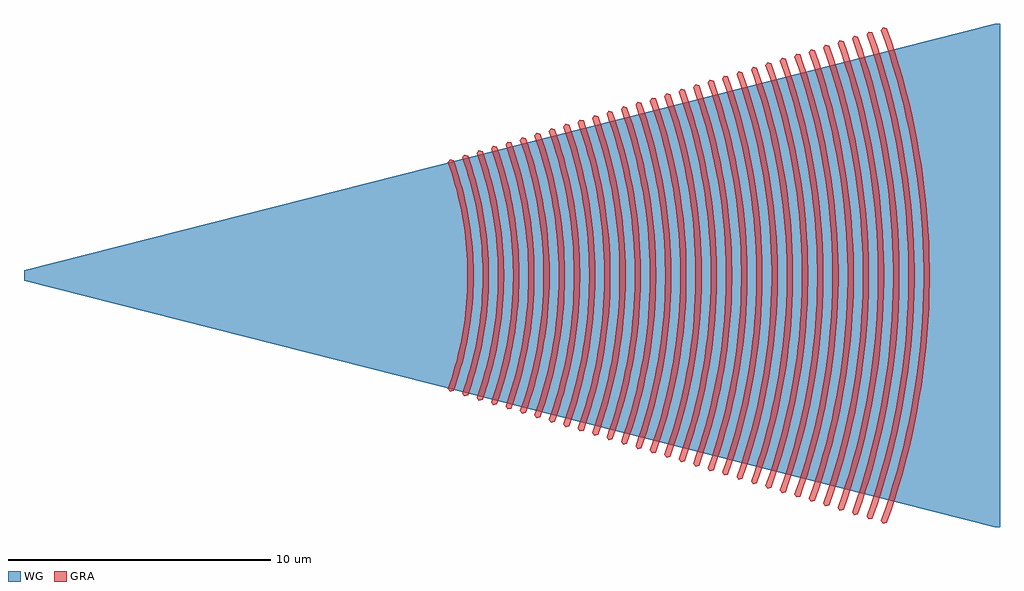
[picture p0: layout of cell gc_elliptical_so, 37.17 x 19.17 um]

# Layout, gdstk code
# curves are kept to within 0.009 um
import gdstk
lib = gdstk.Library(unit=1e-6, precision=1e-09)
def P(c, l, *ps):  # polygons
    for p in ps: c.add(gdstk.Polygon(p, *l))
WG = (3, 0)
GRA = (6, 0)

gc_elliptical_so = lib.new_cell('gc_elliptical_so')
P(gc_elliptical_so, WG, [(-1.953,-0.2),(-1.953,0.2),(35.017,9.583),(35.217,9.583),(35.217,-9.583),(35.017,-9.583)])
P(gc_elliptical_so, GRA, [(14.272,-4.431),(14.187,-4.318),(14.332,-3.889),(14.52,-3.238),(14.673,-2.578),(14.792,-1.911),(14.895,-1.015),(14.935,-0.113),(14.911,0.79),(14.876,1.24),(14.792,1.911),(14.673,2.578),(14.52,3.238),(14.332,3.889),(14.187,4.318),(14.272,4.431),(14.409,4.396),(14.689,3.52),(14.905,2.626),(15.026,1.947),(15.086,1.491),(15.147,0.804),(15.171,0.115),(15.159,-0.574),(15.11,-1.262),(15.026,-1.947),(14.905,-2.626),(14.689,-3.52),(14.409,-4.396)],
  [(14.822,-4.598),(14.737,-4.485),(14.887,-4.04),(15.083,-3.364),(15.242,-2.678),(15.366,-1.985),(15.473,-1.054),(15.514,-0.117),(15.502,0.586),(15.473,1.054),(15.366,1.985),(15.242,2.678),(15.083,3.364),(14.887,4.04),(14.737,4.485),(14.822,4.598),(14.959,4.563),(15.038,4.339),(15.249,3.654),(15.474,2.726),(15.6,2.021),(15.662,1.547),(15.725,0.834),(15.75,0.119),(15.738,-0.596),(15.687,-1.31),(15.6,-2.021),(15.474,-2.726),(15.249,-3.654),(15.038,-4.339),(14.959,-4.563)],
  [(15.372,-4.766),(15.286,-4.654),(15.443,-4.191),(15.646,-3.489),(15.811,-2.778),(15.939,-2.06),(16.004,-1.578),(16.05,-1.094),(16.093,-0.122),(16.068,0.851),(16.03,1.336),(15.939,2.06),(15.811,2.778),(15.646,3.489),(15.443,4.191),(15.286,4.654),(15.372,4.766),(15.51,4.73),(15.81,3.788),(16.043,2.826),(16.173,2.096),(16.238,1.604),(16.304,0.865),(16.329,0.124),(16.316,-0.618),(16.264,-1.358),(16.173,-2.096),(16.043,-2.826),(15.81,-3.788),(15.51,-4.73)],
  [(15.922,-4.934),(15.836,-4.822),(15.999,-4.342),(16.209,-3.615),(16.38,-2.878),(16.513,-2.134),(16.628,-1.132),(16.659,-0.63),(16.672,-0.126),(16.646,0.882),(16.606,1.383),(16.513,2.134),(16.38,2.878),(16.209,3.615),(15.999,4.342),(15.836,4.822),(15.922,4.934),(16.06,4.898),(16.143,4.657),(16.299,4.169),(16.437,3.675),(16.612,2.926),(16.747,2.17),(16.84,1.407),(16.882,0.896),(16.908,0.128),(16.904,-0.384),(16.864,-1.152),(16.782,-1.915),(16.661,-2.675),(16.5,-3.426),(16.223,-4.414),(16.06,-4.898)],
  [(16.472,-5.101),(16.387,-4.988),(16.554,-4.493),(16.772,-3.741),(16.949,-2.978),(17.086,-2.208),(17.155,-1.692),(17.205,-1.173),(17.238,-0.652),(17.251,-0.13),(17.247,0.391),(17.224,0.912),(17.183,1.432),(17.086,2.208),(16.949,2.978),(16.772,3.741),(16.554,4.493),(16.387,4.988),(16.472,5.101),(16.609,5.066),(16.696,4.817),(16.931,4.057),(17.065,3.544),(17.181,3.026),(17.32,2.244),(17.417,1.454),(17.474,0.662),(17.487,0.132),(17.474,-0.662),(17.417,-1.454),(17.32,-2.244),(17.181,-3.026),(17.065,-3.544),(16.931,-4.057),(16.696,-4.817),(16.609,-5.066)],
  [(17.021,-5.269),(16.936,-5.156),(17.189,-4.386),(17.4,-3.605),(17.57,-2.814),(17.659,-2.282),(17.731,-1.749),(17.783,-1.212),(17.816,-0.674),(17.83,-0.135),(17.826,0.404),(17.783,1.212),(17.731,1.749),(17.659,2.282),(17.57,2.814),(17.4,3.605),(17.189,4.386),(16.936,5.156),(17.021,5.269),(17.158,5.234),(17.249,4.976),(17.491,4.191),(17.63,3.661),(17.749,3.127),(17.893,2.318),(17.994,1.504),(18.038,0.957),(18.066,0.137),(18.062,-0.41),(18.019,-1.23),(17.932,-2.047),(17.802,-2.858),(17.63,-3.661),(17.491,-4.191),(17.334,-4.716),(17.158,-5.234)],
  [(17.571,-5.436),(17.486,-5.323),(17.747,-4.528),(17.965,-3.722),(18.14,-2.905),(18.233,-2.356),(18.307,-1.805),(18.36,-1.251),(18.395,-0.696),(18.409,-0.139),(18.404,0.418),(18.38,0.974),(18.307,1.805),(18.233,2.356),(18.14,2.905),(17.965,3.722),(17.747,4.528),(17.486,5.323),(17.571,5.436),(17.708,5.401),(17.802,5.135),(18.052,4.325),(18.195,3.778),(18.318,3.227),(18.467,2.392),(18.541,1.831),(18.616,0.988),(18.645,0.141),(18.631,-0.706),(18.596,-1.269),(18.506,-2.113),(18.372,-2.949),(18.195,-3.778),(18.052,-4.325),(17.889,-4.867),(17.708,-5.401)],
  [(18.121,-5.604),(18.036,-5.491),(18.221,-4.945),(18.46,-4.118),(18.595,-3.56),(18.762,-2.714),(18.847,-2.147),(18.913,-1.577),(18.973,-0.718),(18.988,-0.144),(18.983,0.431),(18.958,1.004),(18.913,1.577),(18.806,2.431),(18.655,3.279),(18.46,4.118),(18.221,4.945),(18.036,5.491),(18.121,5.604),(18.258,5.569),(18.354,5.294),(18.613,4.459),(18.76,3.895),(18.887,3.327),(19.04,2.467),(19.147,1.599),(19.194,1.018),(19.224,0.146),(19.209,-0.728),(19.173,-1.309),(19.081,-2.177),(18.943,-3.041),(18.76,-3.895),(18.613,-4.459),(18.445,-5.017),(18.258,-5.569)],
  [(18.671,-5.771),(18.586,-5.658),(18.776,-5.096),(19.023,-4.243),(19.162,-3.668),(19.334,-2.797),(19.422,-2.213),(19.49,-1.625),(19.552,-0.739),(19.567,-0.148),(19.562,0.444),(19.536,1.035),(19.49,1.625),(19.38,2.505),(19.224,3.379),(19.023,4.243),(18.776,5.096),(18.586,5.658),(18.671,5.771),(18.808,5.736),(18.907,5.454),(19.173,4.593),(19.325,4.012),(19.456,3.427),(19.614,2.541),(19.724,1.647),(19.788,0.749),(19.803,0.15),(19.788,-0.749),(19.751,-1.348),(19.656,-2.243),(19.513,-3.132),(19.325,-4.012),(19.173,-4.593),(19,-5.168),(18.808,-5.736)],
  [(19.221,-5.939),(19.136,-5.826),(19.332,-5.247),(19.586,-4.369),(19.729,-3.777),(19.906,-2.88),(19.996,-2.277),(20.066,-1.673),(20.114,-1.066),(20.146,-0.152),(20.141,0.457),(20.114,1.066),(20.034,1.976),(19.953,2.58),(19.793,3.479),(19.586,4.369),(19.332,5.247),(19.136,5.826),(19.221,5.939),(19.358,5.904),(19.46,5.613),(19.734,4.727),(19.89,4.13),(20.025,3.527),(20.187,2.614),(20.268,2.002),(20.35,1.08),(20.382,0.154),(20.377,-0.463),(20.328,-1.388),(20.23,-2.309),(20.084,-3.224),(19.89,-4.13),(19.734,-4.727),(19.556,-5.319),(19.358,-5.904)],
  [(19.771,-6.107),(19.686,-5.994),(19.887,-5.398),(20.149,-4.495),(20.362,-3.579),(20.478,-2.963),(20.571,-2.343),(20.643,-1.721),(20.709,-0.783),(20.725,-0.157),(20.72,0.47),(20.67,1.409),(20.61,2.033),(20.527,2.653),(20.362,3.579),(20.149,4.495),(19.887,5.398),(19.686,5.994),(19.771,6.107),(19.908,6.072),(20.013,5.772),(20.294,4.862),(20.455,4.247),(20.594,3.627),(20.761,2.689),(20.844,2.059),(20.928,1.11),(20.961,0.159),(20.956,-0.476),(20.906,-1.427),(20.805,-2.375),(20.654,-3.315),(20.455,-4.247),(20.294,-4.862),(20.111,-5.47),(19.908,-6.072)],
  [(20.321,-6.274),(20.236,-6.161),(20.442,-5.549),(20.711,-4.621),(20.863,-3.994),(21.05,-3.046),(21.146,-2.409),(21.22,-1.769),(21.287,-0.805),(21.304,-0.161),(21.299,0.483),(21.27,1.127),(21.22,1.769),(21.1,2.727),(20.993,3.363),(20.79,4.308),(20.537,5.241),(20.236,6.161),(20.321,6.274),(20.458,6.239),(20.566,5.932),(20.855,4.996),(21.02,4.364),(21.162,3.727),(21.334,2.763),(21.454,1.791),(21.506,1.141),(21.54,0.163),(21.535,-0.489),(21.483,-1.466),(21.38,-2.439),(21.225,-3.407),(21.02,-4.364),(20.855,-4.996),(20.668,-5.621),(20.458,-6.239)],
  [(20.871,-6.442),(20.785,-6.329),(21.096,-5.384),(21.274,-4.746),(21.43,-4.103),(21.622,-3.128),(21.761,-2.146),(21.825,-1.488),(21.866,-0.827),(21.883,-0.165),(21.866,0.827),(21.825,1.488),(21.761,2.146),(21.673,2.802),(21.563,3.454),(21.355,4.425),(21.096,5.384),(20.785,6.329),(20.871,6.442),(21.009,6.407),(21.118,6.091),(21.415,5.13),(21.585,4.481),(21.731,3.827),(21.907,2.838),(21.995,2.172),(22.084,1.172),(22.119,0.167),(22.102,-0.837),(22.061,-1.506),(21.954,-2.506),(21.795,-3.498),(21.585,-4.481),(21.415,-5.13),(21.222,-5.772),(21.009,-6.407)],
  [(21.421,-6.609),(21.336,-6.496),(21.554,-5.851),(21.837,-4.872),(21.997,-4.211),(22.194,-3.211),(22.295,-2.539),(22.373,-1.865),(22.444,-0.849),(22.462,-0.17),(22.456,0.509),(22.426,1.188),(22.373,1.865),(22.247,2.876),(22.068,3.879),(21.837,4.872),(21.554,5.851),(21.336,6.496),(21.421,6.609),(21.558,6.574),(21.671,6.25),(21.976,5.264),(22.15,4.598),(22.3,3.927),(22.481,2.912),(22.571,2.229),(22.662,1.202),(22.698,0.172),(22.68,-0.859),(22.638,-1.545),(22.529,-2.571),(22.366,-3.59),(22.15,-4.598),(21.976,-5.264),(21.778,-5.923),(21.558,-6.574)],
  [(21.971,-6.777),(21.885,-6.664),(22.212,-5.669),(22.4,-4.998),(22.564,-4.32),(22.766,-3.294),(22.87,-2.605),(22.95,-1.914),(23.023,-0.871),(23.041,-0.174),(23.035,0.523),(23.004,1.219),(22.95,1.914),(22.82,2.95),(22.637,3.979),(22.4,4.998),(22.212,5.669),(21.885,6.664),(21.971,6.777),(22.109,6.742),(22.224,6.409),(22.536,5.398),(22.715,4.716),(22.869,4.027),(23.054,2.986),(23.147,2.286),(23.24,1.233),(23.277,0.176),(23.259,-0.881),(23.184,-1.936),(23.104,-2.637),(22.936,-3.681),(22.715,-4.716),(22.536,-5.398),(22.333,-6.074),(22.109,-6.742)],
  [(22.521,-6.944),(22.436,-6.831),(22.665,-6.153),(22.963,-5.123),(23.131,-4.429),(23.338,-3.377),(23.444,-2.671),(23.526,-1.962),(23.601,-0.893),(23.62,-0.179),(23.614,0.536),(23.557,1.606),(23.488,2.317),(23.394,3.024),(23.206,4.079),(22.963,5.123),(22.665,6.153),(22.436,6.831),(22.521,6.944),(22.658,6.909),(22.889,6.225),(23.191,5.183),(23.438,4.127),(23.628,3.06),(23.722,2.343),(23.818,1.264),(23.856,0.181),(23.85,-0.542),(23.793,-1.624),(23.678,-2.701),(23.507,-3.773),(23.28,-4.833),(23.097,-5.532),(22.889,-6.225),(22.658,-6.909)],
  [(23.071,-7.112),(22.986,-6.999),(23.22,-6.304),(23.526,-5.249),(23.775,-4.179),(23.91,-3.46),(24.019,-2.736),(24.103,-2.01),(24.18,-0.915),(24.199,-0.183),(24.193,0.549),(24.16,1.28),(24.103,2.01),(23.967,3.098),(23.775,4.179),(23.526,5.249),(23.328,5.954),(22.986,6.999),(23.071,7.112),(23.208,7.077),(23.33,6.728),(23.658,5.666),(23.845,4.95),(24.007,4.227),(24.201,3.134),(24.337,2.032),(24.416,0.925),(24.435,0.185),(24.416,-0.925),(24.37,-1.663),(24.253,-2.768),(24.077,-3.864),(23.845,-4.95),(23.554,-6.022),(23.208,-7.077)],
  [(23.621,-7.28),(23.535,-7.168),(23.776,-6.455),(24.089,-5.375),(24.265,-4.646),(24.482,-3.543),(24.593,-2.802),(24.68,-2.058),(24.758,-0.937),(24.778,-0.187),(24.772,0.562),(24.712,1.685),(24.64,2.43),(24.541,3.173),(24.343,4.28),(24.089,5.375),(23.776,6.455),(23.535,7.168),(23.621,7.28),(23.759,7.244),(24,6.527),(24.317,5.435),(24.575,4.328),(24.775,3.209),(24.874,2.458),(24.974,1.325),(25.014,0.189),(25.008,-0.568),(24.948,-1.703),(24.827,-2.834),(24.648,-3.956),(24.41,-5.067),(24.112,-6.165),(23.759,-7.244)],
  [(24.17,-7.447),(24.085,-7.334),(24.332,-6.606),(24.651,-5.5),(24.832,-4.755),(25.054,-3.626),(25.168,-2.867),(25.256,-2.106),(25.337,-0.958),(25.357,-0.192),(25.337,0.958),(25.289,1.724),(25.216,2.487),(25.114,3.247),(24.986,4.003),(24.745,5.128),(24.444,6.239),(24.085,7.334),(24.17,7.447),(24.307,7.412),(24.556,6.678),(24.879,5.56),(25.144,4.428),(25.348,3.283),(25.45,2.513),(25.552,1.355),(25.593,0.194),(25.573,-0.968),(25.525,-1.742),(25.402,-2.899),(25.218,-4.047),(24.975,-5.184),(24.779,-5.935),(24.556,-6.678),(24.307,-7.412)],
  [(24.72,-7.615),(24.635,-7.502),(24.887,-6.757),(25.214,-5.626),(25.399,-4.863),(25.626,-3.708),(25.743,-2.933),(25.833,-2.153),(25.915,-0.98),(25.936,-0.196),(25.929,0.588),(25.867,1.763),(25.791,2.544),(25.687,3.321),(25.557,4.095),(25.31,5.246),(25.002,6.382),(24.635,7.502),(24.72,7.615),(24.857,7.58),(25.111,6.829),(25.442,5.686),(25.713,4.528),(25.921,3.357),(26.067,2.177),(26.13,1.386),(26.172,0.198),(26.165,-0.594),(26.103,-1.781),(25.977,-2.965),(25.789,-4.139),(25.54,-5.302),(25.228,-6.45),(24.857,-7.58)],
  [(25.27,-7.782),(25.185,-7.669),(25.443,-6.908),(25.777,-5.752),(25.966,-4.972),(26.198,-3.791),(26.317,-2.998),(26.41,-2.202),(26.494,-1.002),(26.515,-0.201),(26.494,1.002),(26.444,1.803),(26.367,2.6),(26.261,3.395),(26.05,4.58),(25.875,5.363),(25.561,6.524),(25.185,7.669),(25.27,7.782),(25.407,7.747),(25.667,6.98),(26.005,5.812),(26.282,4.628),(26.495,3.431),(26.644,2.224),(26.73,1.012),(26.751,0.203),(26.73,-1.012),(26.68,-1.821),(26.551,-3.03),(26.359,-4.23),(26.105,-5.419),(25.787,-6.592),(25.407,-7.747)],
  [(25.82,-7.95),(25.735,-7.837),(25.998,-7.059),(26.34,-5.877),(26.533,-5.081),(26.77,-3.874),(26.892,-3.064),(26.986,-2.25),(27.051,-1.433),(27.094,-0.205),(27.087,0.615),(27.051,1.433),(26.943,2.658),(26.834,3.469),(26.698,4.278),(26.44,5.48),(26.119,6.667),(25.735,7.837),(25.82,7.95),(25.957,7.915),(26.222,7.131),(26.568,5.937),(26.851,4.728),(27.068,3.505),(27.177,2.684),(27.287,1.447),(27.33,0.207),(27.323,-0.621),(27.258,-1.86),(27.126,-3.096),(26.93,-4.322),(26.67,-5.536),(26.345,-6.735),(25.957,-7.915)],
  [(26.37,-8.117),(26.285,-8.004),(26.554,-7.21),(26.903,-6.003),(27.1,-5.189),(27.342,-3.957),(27.467,-3.129),(27.563,-2.298),(27.629,-1.464),(27.673,-0.209),(27.666,0.628),(27.629,1.464),(27.519,2.715),(27.408,3.544),(27.187,4.78),(26.903,6.003),(26.554,7.21),(26.285,8.004),(26.37,8.117),(26.507,8.082),(26.903,6.878),(27.235,5.653),(27.5,4.413),(27.642,3.58),(27.797,2.32),(27.865,1.478),(27.909,0.211),(27.902,-0.634),(27.835,-1.9),(27.701,-3.161),(27.5,-4.413),(27.235,-5.653),(26.903,-6.878),(26.507,-8.082)],
  [(26.92,-8.285),(26.835,-8.172),(27.109,-7.361),(27.466,-6.129),(27.667,-5.298),(27.914,-4.04),(28.041,-3.195),(28.14,-2.347),(28.207,-1.495),(28.252,-0.214),(28.244,0.641),(28.207,1.495),(28.14,2.347),(27.981,3.618),(27.756,4.88),(27.466,6.129),(27.109,7.361),(26.835,8.172),(26.92,8.285),(27.057,8.25),(27.461,7.02),(27.8,5.77),(28.071,4.505),(28.215,3.654),(28.374,2.369),(28.443,1.509),(28.488,0.216),(28.465,-1.078),(28.412,-1.939),(28.275,-3.227),(28.071,-4.505),(27.8,-5.77),(27.461,-7.02),(27.057,-8.25)],
  [(27.47,-8.453),(27.385,-8.34),(27.665,-7.512),(28.029,-6.255),(28.234,-5.407),(28.486,-4.123),(28.616,-3.261),(28.716,-2.395),(28.808,-1.09),(28.831,-0.218),(28.823,0.654),(28.785,1.525),(28.716,2.395),(28.555,3.692),(28.325,4.98),(28.029,6.255),(27.665,7.512),(27.385,8.34),(27.47,8.453),(27.607,8.418),(28.019,7.163),(28.365,5.887),(28.642,4.596),(28.789,3.728),(28.95,2.417),(29.021,1.539),(29.067,0.22),(29.044,-1.1),(28.99,-1.978),(28.85,-3.291),(28.642,-4.596),(28.365,-5.887),(28.019,-7.163),(27.607,-8.418)],
  [(28.02,-8.62),(27.935,-8.507),(28.22,-7.663),(28.591,-6.38),(28.801,-5.515),(29.058,-4.206),(29.191,-3.326),(29.293,-2.443),(29.363,-1.556),(29.41,-0.222),(29.402,0.667),(29.363,1.556),(29.293,2.443),(29.128,3.766),(28.98,4.644),(28.7,5.949),(28.351,7.237),(27.935,8.507),(28.02,8.62),(28.157,8.585),(28.577,7.305),(28.93,6.005),(29.212,4.688),(29.425,3.358),(29.527,2.465),(29.599,1.57),(29.646,0.224),(29.638,-0.673),(29.567,-2.018),(29.425,-3.358),(29.212,-4.688),(28.93,-6.005),(28.577,-7.305),(28.157,-8.585)],
  [(28.57,-8.788),(28.485,-8.675),(28.776,-7.814),(29.154,-6.506),(29.368,-5.624),(29.63,-4.288),(29.765,-3.391),(29.87,-2.491),(29.965,-1.134),(29.989,-0.227),(29.965,1.134),(29.909,2.039),(29.822,2.941),(29.701,3.84),(29.551,4.735),(29.265,6.066),(28.909,7.38),(28.485,8.675),(28.57,8.788),(28.707,8.753),(29.135,7.448),(29.495,6.122),(29.783,4.779),(29.935,3.876),(30.104,2.513),(30.177,1.601),(30.225,0.229),(30.201,-1.144),(30.145,-2.057),(29.999,-3.423),(29.783,-4.779),(29.495,-6.122),(29.135,-7.448),(28.707,-8.753)],
  [(29.12,-8.955),(29.034,-8.842),(29.331,-7.965),(29.717,-6.632),(29.935,-5.733),(30.202,-4.371),(30.34,-3.458),(30.446,-2.539),(30.519,-1.617),(30.568,-0.231),(30.56,0.693),(30.519,1.617),(30.446,2.539),(30.275,3.915),(30.032,5.28),(29.717,6.632),(29.331,7.965),(29.034,8.842),(29.12,8.955),(29.258,8.92),(29.693,7.591),(30.06,6.239),(30.353,4.871),(30.509,3.951),(30.68,2.561),(30.755,1.631),(30.804,0.233),(30.796,-0.699),(30.722,-2.096),(30.574,-3.488),(30.353,-4.871),(30.06,-6.239),(29.693,-7.591),(29.258,-8.92)],
  [(29.67,-9.123),(29.584,-9.01),(29.887,-8.116),(30.28,-6.757),(30.502,-5.841),(30.775,-4.454),(30.915,-3.522),(31.023,-2.587),(31.122,-1.177),(31.147,-0.236),(31.139,0.707),(31.064,2.118),(30.973,3.056),(30.775,4.454),(30.502,5.841),(30.28,6.757),(29.887,8.116),(29.584,9.01),(29.67,9.123),(29.808,9.088),(30.252,7.733),(30.625,6.356),(30.924,4.962),(31.149,3.554),(31.257,2.609),(31.333,1.662),(31.383,0.238),(31.375,-0.713),(31.3,-2.136),(31.149,-3.554),(30.924,-4.962),(30.625,-6.356),(30.252,-7.733),(29.808,-9.088)],
  [(30.22,-9.29),(30.135,-9.177),(30.584,-7.808),(30.843,-6.883),(31.069,-5.95),(31.347,-4.537),(31.489,-3.588),(31.6,-2.635),(31.675,-1.679),(31.726,-0.24),(31.717,0.72),(31.675,1.679),(31.6,2.635),(31.422,4.063),(31.347,4.537),(31.169,5.481),(30.843,6.883),(30.584,7.808),(30.135,9.177),(30.22,9.29),(30.357,9.255),(30.81,7.876),(31.19,6.473),(31.494,5.054),(31.656,4.099),(31.834,2.657),(31.911,1.693),(31.962,0.242),(31.953,-0.726),(31.877,-2.175),(31.723,-3.62),(31.656,-4.099),(31.494,-5.054),(31.19,-6.473),(30.81,-7.876),(30.357,-9.255)],
  [(30.769,-9.458),(30.684,-9.345),(30.998,-8.417),(31.406,-7.009),(31.636,-6.059),(31.919,-4.62),(32.064,-3.653),(32.176,-2.683),(32.279,-1.221),(32.305,-0.244),(32.279,1.221),(32.218,2.197),(32.124,3.169),(31.919,4.62),(31.636,6.059),(31.406,7.009),(30.998,8.417),(30.684,9.345),(30.769,9.458),(30.906,9.423),(31.069,8.958),(31.368,8.018),(31.755,6.591),(32.065,5.145),(32.229,4.173),(32.41,2.705),(32.489,1.723),(32.541,0.246),(32.515,-1.231),(32.454,-2.215),(32.298,-3.685),(32.065,-5.145),(31.755,-6.591),(31.368,-8.018),(31.069,-8.958),(30.906,-9.423)])

lib.write_gds('gc_elliptical_so.gds')
